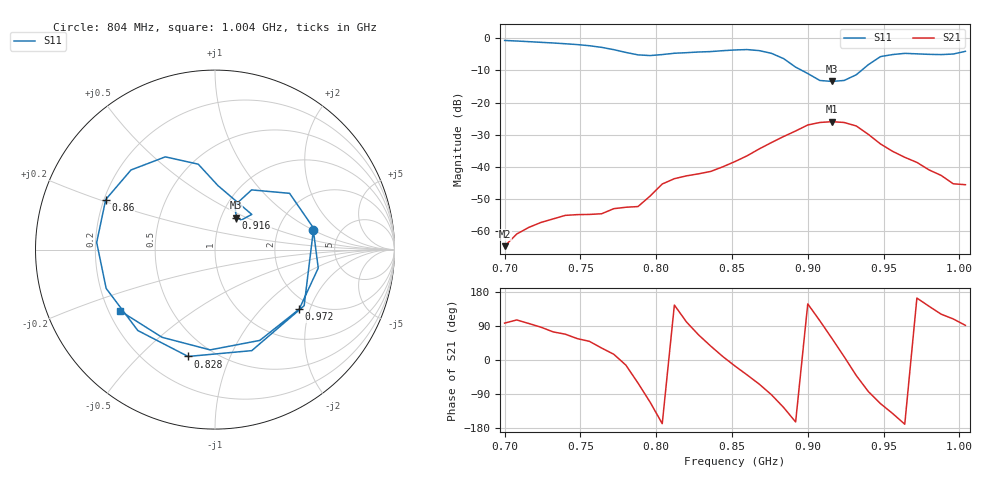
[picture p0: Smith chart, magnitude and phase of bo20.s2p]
# Hz S RI R 50
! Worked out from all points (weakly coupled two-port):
!   39 points, 700 MHz to 1.004 GHz, reference 50 ohm
!   highest |S21| = -25.94 dB at 916 MHz (marker M1); lowest = -64.7 dB at 700 MHz (marker M2)
!   lowest |S11| = -13.4 dB at 916 MHz (marker M3), VSWR 1.54, Z = 58.9 + j22 ohm
!   |S11| at or under -10 dB: 896.2 MHz to 935.4 MHz (39.18 MHz wide, 4.28 % of centre)
!   S12 and S22 are empty: the file has one direction only
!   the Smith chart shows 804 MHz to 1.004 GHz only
!   S11 on the Smith chart (normalised r, x): 804 MHz: 3.17, +1.03; 828 MHz: 0.37, -0.71; 860 MHz: 0.21, +0.21; 916 MHz: 1.18, +0.44; 972 MHz: 1.70, -1.69; 1.004 GHz: 0.25, -0.28
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7e8  0.7636 0.5286  -7.4e-05 0.000574  0 0  0 0
7.24e8  0.831 -0.2526  8.17e-05 0.00135  0 0  0 0
7.4e8  0.4446 -0.6952  0.000651 0.00162  0 0  0 0
7.56e8  -0.1942 -0.7436  0.00118 0.00137  0 0  0 0
7.72e8  -0.6439 -0.1779  0.00214 0.000582  0 0  0 0
7.8e8  -0.5567 0.234  0.00228 -0.000547  0 0  0 0
7.88e8  -0.202 0.5156  0.00117 -0.00209  0 0  0 0
7.96e8  0.2674 0.4692  -0.00127 -0.00326  0 0  0 0
8.04e8  0.5485 0.1117  -0.00527 -0.00112  0 0  0 0
8.2e8  0.2051 -0.5629  -0.00129 0.0071  0 0  0 0
8.28e8  -0.15 -0.5953  0.00314 0.0071  0 0  0 0
8.52e8  -0.6592 0.0395  0.0116 -0.00332  0 0  0 0
8.6e8  -0.6089 0.2789  0.0115 -0.00941  0 0  0 0
8.76e8  -0.2767 0.5168  -0.000635 -0.0238  0 0  0 0
9e8  0.2049 0.196  -0.038 0.0237  0 0  0 0
9.08e8  0.1469 0.1649  -0.0114 0.0476  0 0  0 0
9.16e8  0.1179 0.1781  0.0278 0.0421  0 0  0 0
9.4e8  0.2039 0.3326  0.00369 -0.0317  0 0  0 0
9.56e8  0.5459 0.1243  -0.0135 -0.0109  0 0  0 0
9.72e8  0.4686 -0.3325  -0.0112 0.00334  0 0  0 0
9.88e8  -0.0271 -0.5587  -0.00377 0.00629  0 0  0 0
1.004e9  -0.5276 -0.3419  -0.000132 0.00525  0 0  0 0
